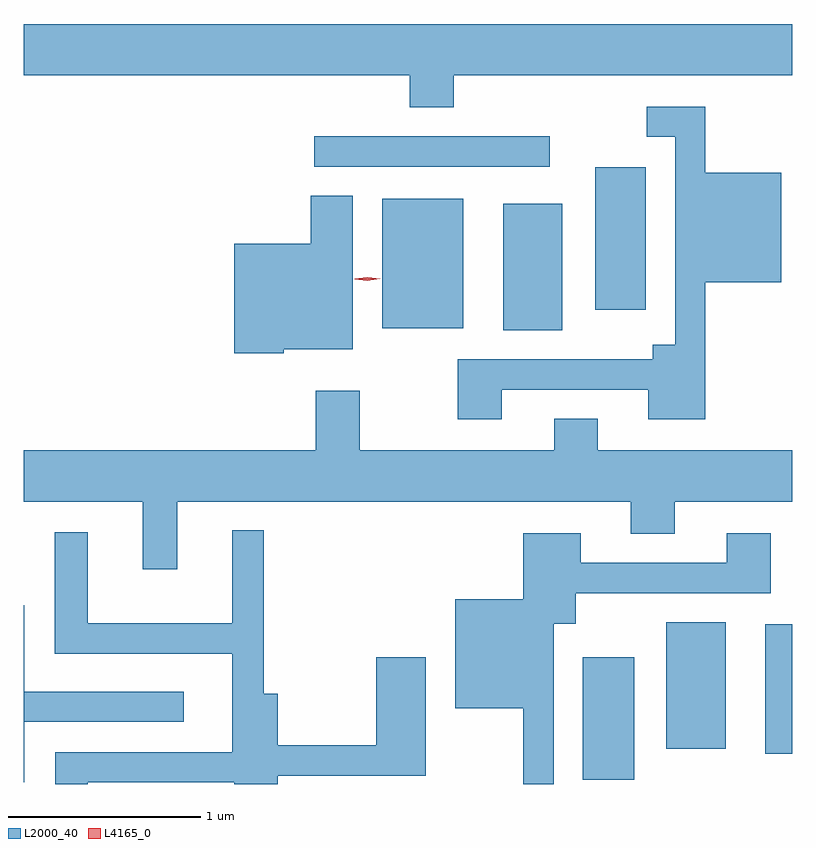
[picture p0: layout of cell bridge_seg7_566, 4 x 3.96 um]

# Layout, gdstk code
import gdstk
lib = gdstk.Library(unit=1e-6, precision=1e-09)
def R(c, l, rs):  # rectangles x0, y0, x1, y1
    for r in rs: c.add(gdstk.rectangle(r[:2], r[2:], *l))
def P(c, l, *ps):  # polygons
    for p in ps: c.add(gdstk.Polygon(p, *l))
L2000_40 = (2000, 40)
L4165_0 = (4165, 0)

bridge_seg7_566 = lib.new_cell('bridge_seg7_566')
R(bridge_seg7_566, L2000_40, [(753.211,1739.511,753.479,1740.149), (754.161,1739.646,754.301,1740.319), (753.646,1739.671,753.954,1740.329), (752.796,1741.851,753.104,1742.509), (752.166,1741.861,752.589,1742.534), (753.276,1741.956,753.539,1742.699), (751.813,1742.701,753.038,1742.859)])
P(bridge_seg7_566, L2000_40, [(752.539,1743.176),(754.301,1743.176),(754.301,1743.444),(750.301,1743.444),(750.301,1743.176),(752.311,1743.176),(752.311,1743.011),(752.539,1743.011)],
  [(752.789,1741.541),(753.551,1741.541),(753.551,1741.386),(753.849,1741.386),(753.849,1742.101),(754.244,1742.101),(754.244,1742.669),(753.849,1742.669),(753.849,1743.014),(753.543,1743.014),(753.543,1742.856),(753.691,1742.856),(753.691,1741.774),(753.576,1741.774),(753.576,1741.699),(752.561,1741.699),(752.561,1741.386),(752.789,1741.386)],
  [(751.654,1741.751),(752.014,1741.751),(752.014,1742.549),(751.796,1742.549),(751.796,1742.299),(751.396,1742.299),(751.396,1741.731),(751.654,1741.731)],
  [(751.099,1740.956),(753.461,1740.956),(753.461,1740.791),(753.689,1740.791),(753.689,1740.956),(754.301,1740.956),(754.301,1741.224),(753.289,1741.224),(753.289,1741.389),(753.061,1741.389),(753.061,1741.224),(752.049,1741.224),(752.049,1741.534),(751.821,1741.534),(751.821,1741.224),(750.301,1741.224),(750.301,1740.956),(750.921,1740.956),(750.921,1740.606),(751.099,1740.606)],
  [(750.634,1739.496),(751.396,1739.496),(751.396,1739.488),(751.624,1739.488),(751.624,1739.531),(752.394,1739.531),(752.394,1740.149),(752.136,1740.149),(752.136,1739.689),(751.624,1739.689),(751.624,1739.959),(751.549,1739.959),(751.549,1740.808),(751.386,1740.808),(751.386,1740.324),(750.634,1740.324),(750.634,1740.799),(750.461,1740.799),(750.461,1740.166),(751.386,1740.166),(751.386,1739.654),(750.466,1739.654),(750.466,1739.488),(750.634,1739.488)],
  [(753.059,1740.321),(753.174,1740.321),(753.174,1740.481),(754.189,1740.481),(754.189,1740.794),(753.961,1740.794),(753.961,1740.639),(753.199,1740.639),(753.199,1740.794),(752.901,1740.794),(752.901,1740.449),(752.546,1740.449),(752.546,1739.881),(752.901,1739.881),(752.901,1739.488),(753.059,1739.488)],
  [(750.304,1739.811),(751.133,1739.811),(751.133,1739.969),(750.304,1739.969),(750.304,1740.419),(750.301,1740.419),(750.301,1739.496),(750.304,1739.496)])
P(bridge_seg7_566, L4165_0, [(752.09,1742.107),(752.024,1742.116),(752.024,1742.116),(752.024,1742.117),(752.09,1742.127),(752.156,1742.118),(752.156,1742.117),(752.156,1742.117)])

lib.write_gds('bridge_seg7_566.gds')
